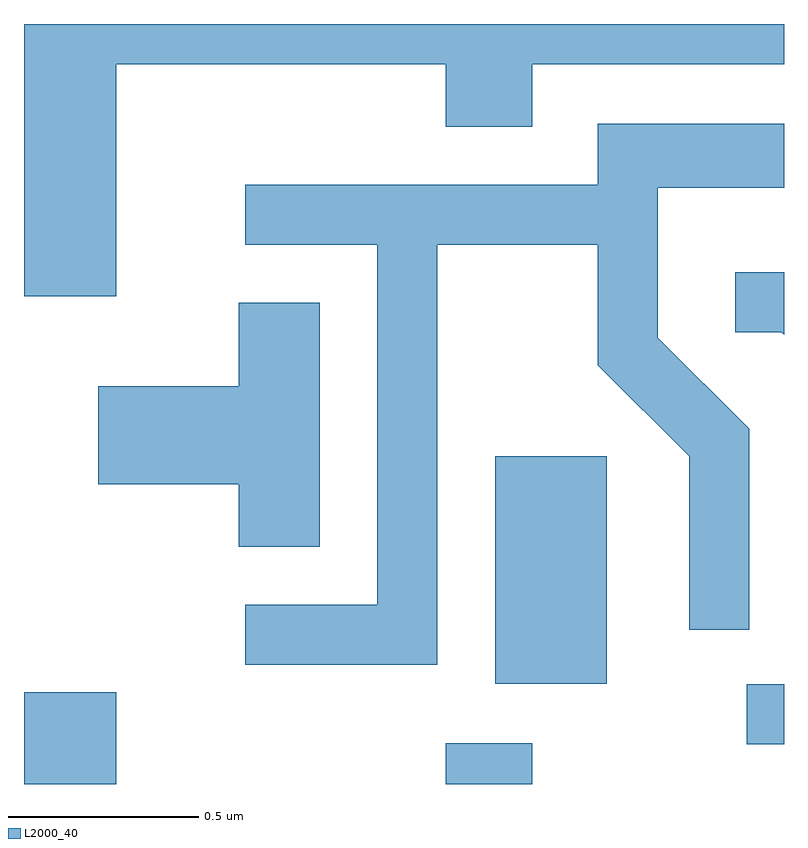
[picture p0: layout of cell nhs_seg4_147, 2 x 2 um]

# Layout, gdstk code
import gdstk
lib = gdstk.Library(unit=1e-6, precision=1e-09)
def R(c, l, rs):  # rectangles x0, y0, x1, y1
    for r in rs: c.add(gdstk.rectangle(r[:2], r[2:], *l))
def P(c, l, *ps):  # polygons
    for p in ps: c.add(gdstk.Polygon(p, *l))
L2000_40 = (2000, 40)

nhs_seg4_147 = lib.new_cell('nhs_seg4_147')
R(nhs_seg4_147, L2000_40, [(186.611,1263.982,186.854,1264.224), (187.721,1263.982,187.949,1264.089), (188.513,1264.086,188.611,1264.244), (187.851,1264.246,188.144,1264.844)])
P(nhs_seg4_147, L2000_40, [(186.854,1265.876),(187.721,1265.876),(187.721,1265.711),(187.949,1265.711),(187.949,1265.876),(188.611,1265.876),(188.611,1265.982),(186.611,1265.982),(186.611,1265.266),(186.854,1265.266)],
  [(187.699,1265.401),(188.121,1265.401),(188.121,1265.084),(188.361,1264.844),(188.361,1264.388),(188.519,1264.388),(188.519,1264.917),(188.279,1265.157),(188.279,1265.551),(188.611,1265.551),(188.611,1265.719),(188.121,1265.719),(188.121,1265.559),(187.193,1265.559),(187.193,1265.401),(187.541,1265.401),(187.541,1264.454),(187.193,1264.454),(187.193,1264.296),(187.699,1264.296)],
  [(188.611,1265.329),(188.483,1265.329),(188.483,1265.171),(188.604,1265.171),(188.611,1265.164)],
  [(187.389,1265.249),(187.176,1265.249),(187.176,1265.029),(186.806,1265.029),(186.806,1264.771),(187.176,1264.771),(187.176,1264.606),(187.389,1264.606)])

lib.write_gds('nhs_seg4_147.gds')
